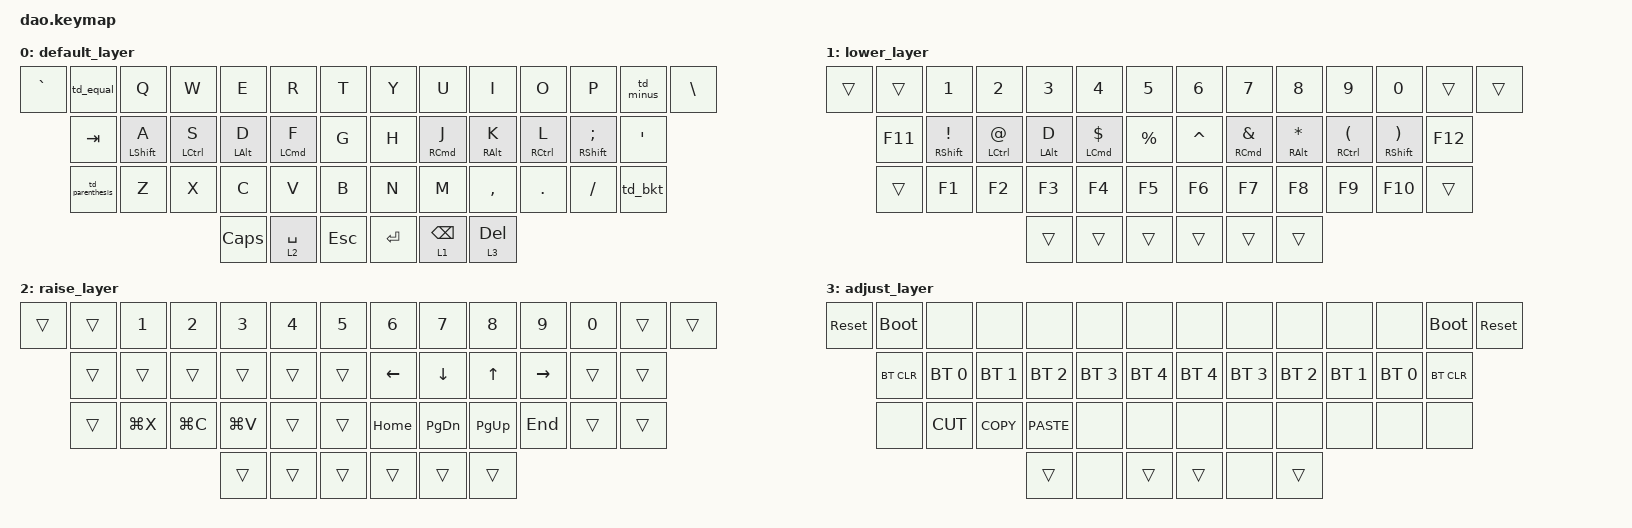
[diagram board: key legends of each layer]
/*
 * Copyright (c) 2021 Rafael Yumagulov
 *
 * SPDX-License-Identifier: MIT
 */

#include <behaviors.dtsi>
#include <dt-bindings/zmk/bt.h>
#include <dt-bindings/zmk/keys.h>

#define DEF 0
#define LWR 1
#define RSE 2
#define ADJ 3

&lt { quick_tap_ms = <200>; };

&mt { quick_tap_ms = <200>; };

/ {
    chosen {
        // zmk,matrix_transform = &default_transform;

        zmk,matrix_transform = &extra_keys_transform;
    };
};

/ {
    behaviors {
        mt_l: mt_l {
            compatible = "zmk,behavior-hold-tap";
            label = "MT_L";
            bindings = <&kp>, <&kp>;

            #binding-cells = <2>;
            tapping-term-ms = <220>;
            flavor = "tap-preferred";
            quick-tap-ms = <140>;
            global-quick-tap;
        };

        td_parenthesis: td_parenthesis {
            compatible = "zmk,behavior-tap-dance";
            label = "TD_PARENTHESIS";
            #binding-cells = <0>;
            bindings = <&kp LEFT_PARENTHESIS>, <&kp RIGHT_PARENTHESIS>;
        };

        td_bkt: td_bkt {
            compatible = "zmk,behavior-tap-dance";
            label = "TD_BKT";
            #binding-cells = <0>;
            bindings = <&kp LBKT>, <&kp RBKT>;
        };

        mt_r: mt_r {
            compatible = "zmk,behavior-hold-tap";
            label = "MT_R";
            bindings = <&kp>, <&kp>;

            #binding-cells = <2>;
            tapping-term-ms = <220>;
            quick-tap-ms = <140>;
            flavor = "tap-preferred";
            global-quick-tap;
        };

        td_equal: td_equal {
            compatible = "zmk,behavior-tap-dance";
            label = "TD_EQUAL";
            #binding-cells = <0>;
            bindings = <&kp EQUAL>, <&kp PLUS>;
        };

        td_minus: td_minus {
            compatible = "zmk,behavior-tap-dance";
            label = "TD_MINUS";
            #binding-cells = <0>;
            bindings = <&kp MINUS>, <&kp UNDER>;
        };
    };

    keymap {
        compatible = "zmk,keymap";

        default_layer {
            bindings = <
&kp GRAVE  &td_equal        &kp Q          &kp W          &kp E         &kp R         &kp T         &kp Y      &kp U            &kp I         &kp O          &kp P                  &td_minus  &kp BACKSLASH
           &kp TAB          &mt_l LSHFT A  &mt_l LCTRL S  &mt_l LALT D  &mt_l LCMD F  &kp G         &kp H      &mt_r RCMD J     &mt_r RALT K  &mt_r RCTRL L  &mt_r RSHFT SEMICOLON  &kp SQT
           &td_parenthesis  &kp Z          &kp X          &kp C         &kp V         &kp B         &kp N      &kp M            &kp COMMA     &kp DOT        &kp FSLH               &td_bkt
                                                          &kp CAPS      &lt 2 SPACE   &kp ESCAPE    &kp ENTER  &lt 1 BACKSPACE  &lt 3 DEL
            >;
        };

        lower_layer {
            bindings = <
&trans  &trans   &kp N1                   &kp N2               &kp N3        &kp N4             &kp N5       &kp N6     &kp N7                &kp N8               &kp N9                        &kp N0                         &trans   &trans
        &kp F11  &mt_l RSHFT EXCLAMATION  &mt_l LCTRL AT_SIGN  &mt_l LALT D  &mt_l LCMD DOLLAR  &kp PRCNT    &kp CARET  &mt_r RCMD AMPERSAND  &mt_r RALT ASTERISK  &mt_r RCTRL LEFT_PARENTHESIS  &mt_r RSHFT RIGHT_PARENTHESIS  &kp F12
        &trans   &kp F1                   &kp F2               &kp F3        &kp F4             &kp F5       &kp F6     &kp F7                &kp F8               &kp F9                        &kp F10                        &trans
                                                               &trans        &trans             &trans       &trans     &trans                &trans
            >;
        };

        raise_layer {
            bindings = <
&trans  &trans  &kp NUMBER_1  &kp NUMBER_2  &kp NUMBER_3  &kp NUMBER_4  &kp NUMBER_5    &kp NUMBER_6    &kp NUMBER_7   &kp NUMBER_8  &kp NUMBER_9  &kp NUMBER_0  &trans  &trans
        &trans  &trans        &trans        &trans        &trans        &trans          &kp LEFT_ARROW  &kp DOWN       &kp UP        &kp RIGHT     &trans        &trans
        &trans  &kp LG(X)     &kp LG(C)     &kp LG(V)     &trans        &trans          &kp HOME        &kp PAGE_DOWN  &kp PAGE_UP   &kp END       &trans        &trans
                                            &trans        &trans        &trans          &trans          &trans         &trans
            >;
        };

        adjust_layer {
            bindings = <
&sys_reset  &bootloader  &none         &none         &none         &none         &none           &none         &none         &none         &none         &none         &bootloader  &sys_reset
            &bt BT_CLR   &bt BT_SEL 0  &bt BT_SEL 1  &bt BT_SEL 2  &bt BT_SEL 3  &bt BT_SEL 4    &bt BT_SEL 4  &bt BT_SEL 3  &bt BT_SEL 2  &bt BT_SEL 1  &bt BT_SEL 0  &bt BT_CLR
            &none        &kp K_CUT     &kp K_COPY    &kp K_PASTE   &none         &none           &none         &none         &none         &none         &none         &none
                                                     &trans        &none         &trans          &trans        &none         &trans
            >;
        };
    };
};
